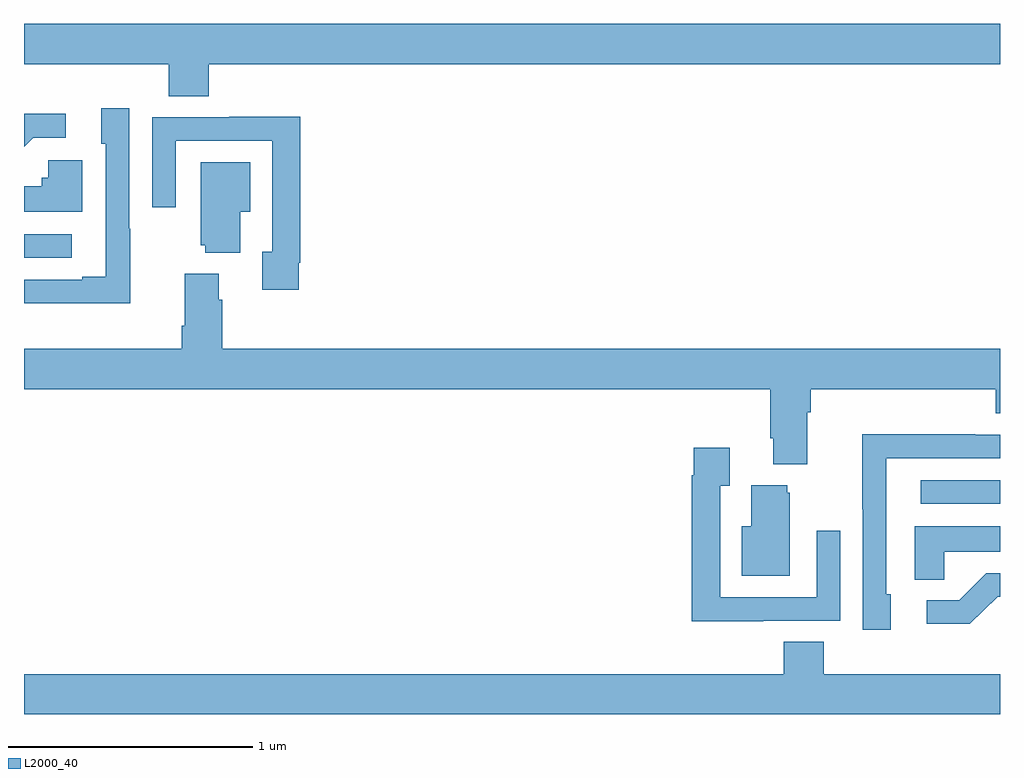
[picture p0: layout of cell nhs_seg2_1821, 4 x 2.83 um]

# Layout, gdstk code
import gdstk
lib = gdstk.Library(unit=1e-6, precision=1e-09)
def R(c, l, rs):  # rectangles x0, y0, x1, y1
    for r in rs: c.add(gdstk.rectangle(r[:2], r[2:], *l))
def P(c, l, *ps):  # polygons
    for p in ps: c.add(gdstk.Polygon(p, *l))
L2000_40 = (2000, 40)

nhs_seg2_1821 = lib.new_cell('nhs_seg2_1821')
R(nhs_seg2_1821, L2000_40, [(210.675,599.214,211,599.31), (207,600.222,207.196,600.318)])
P(nhs_seg2_1821, L2000_40, [(207.758,601.016),(211,601.016),(211,601.18),(207,601.18),(207,601.016),(207.593,601.016),(207.593,600.883),(207.758,600.883)],
  [(207.435,600.341),(207.432,600.341),(207.432,600.835),(207.317,600.835),(207.317,600.69),(207.336,600.69),(207.336,600.145),(207.239,600.145),(207.239,600.132),(207,600.132),(207,600.035),(207.435,600.035)],
  [(207.037,600.714),(207.172,600.714),(207.172,600.812),(207,600.812),(207,600.677)],
  [(208.126,600.202),(208.133,600.202),(208.133,600.8),(207.841,600.8),(207.841,600.798),(207.525,600.798),(207.525,600.429),(207.621,600.429),(207.621,600.702),(208.017,600.702),(208.017,600.246),(207.977,600.246),(207.977,600.09),(208.126,600.09)],
  [(207.238,600.622),(207.099,600.622),(207.099,600.549),(207.073,600.549),(207.073,600.514),(207,600.514),(207,600.41),(207.238,600.41)],
  [(207.886,600.41),(207.928,600.41),(207.928,600.613),(207.725,600.613),(207.725,600.273),(207.743,600.273),(207.743,600.242),(207.886,600.242)],
  [(210.211,599.588),(210.224,599.588),(210.224,599.684),(210.983,599.684),(210.983,599.585),(211,599.585),(211,599.848),(207.812,599.848),(207.812,600.05),(207.799,600.05),(207.799,600.157),(207.659,600.157),(207.659,599.944),(207.647,599.944),(207.647,599.848),(207,599.848),(207,599.684),(210.059,599.684),(210.059,599.482),(210.071,599.482),(210.071,599.375),(210.211,599.375)],
  [(210.553,598.842),(210.534,598.842),(210.534,599.4),(211,599.4),(211,599.496),(210.899,599.496),(210.899,599.498),(210.436,599.498),(210.436,599.191),(210.438,599.191),(210.438,598.698),(210.553,598.698)],
  [(210.029,598.734),(210.345,598.734),(210.345,599.104),(210.249,599.104),(210.249,598.83),(209.853,598.83),(209.853,599.287),(209.893,599.287),(209.893,599.443),(209.745,599.443),(209.745,599.33),(209.737,599.33),(209.737,598.733),(210.029,598.733)],
  [(210.139,599.259),(210.128,599.259),(210.128,599.29),(209.981,599.29),(209.981,599.122),(209.942,599.122),(209.942,598.919),(210.139,598.919)],
  [(210.771,599.018),(211,599.018),(211,599.122),(210.65,599.122),(210.65,598.903),(210.771,598.903)],
  [(210.99,598.833),(211,598.833),(211,598.929),(210.944,598.929),(210.833,598.818),(210.699,598.818),(210.699,598.721),(210.877,598.721)],
  [(211,598.516),(210.278,598.516),(210.278,598.649),(210.113,598.649),(210.113,598.516),(207,598.516),(207,598.352),(211,598.352)])

lib.write_gds('nhs_seg2_1821.gds')
